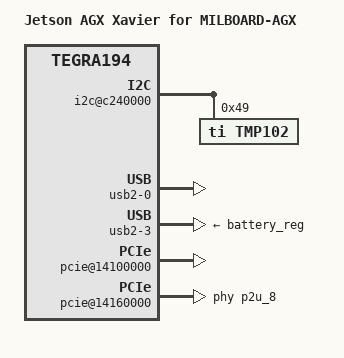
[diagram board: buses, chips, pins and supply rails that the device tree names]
/*
 * Top level DTS file for CVM:P2888-0001 and CVB:MILBOARD-AGX
 *
 * Copyright (c) 2020-2021, Mist Elektronik Biyomedikal Ltd. Şti.  All rights reserved.
 *
 * This program is free software; you can redistribute it and/or modify
 * it under the terms of the GNU General Public License as published by
 * the Free Software Foundation; version 2 of the License.
 *
 * This program is distributed in the hope that it will be useful, but WITHOUT
 * ANY WARRANTY; without even the implied warranty of MERCHANTABILITY or
 * FITNESS FOR A PARTICULAR PURPOSE.  See the GNU General Public License for
 * more details.
 */
#include "common/tegra194-p2888-0001-p2822-0000-common.dtsi"
#include "common/tegra194-p2822-camera-modules.dtsi"
#include "t19x-common-modules/tegra194-camera-plugin-manager.dtsi"

/ {
	nvidia,dtsfilename = __FILE__;
	nvidia,dtbbuildtime = __DATE__, __TIME__;
	model = "Jetson AGX Xavier for MILBOARD-AGX";

	i2c@c240000 {
		ucsi_ccg@8 {
			status = "disabled";
		};
		tmp102: tmp102@49 { // Temperature Sensor
			compatible = "ti,tmp102";
			reg = <0x49>;
			#thermal-sensor-cells = <0>;
		};
	};

	i2c@c250000 {
		rt5659.7-001a@1a {
			status = "disabled";
		};
	};

	sound {
		status = "disabled";
	};

	host1x {

		nvdisplay@15200000 {
			/delete-property/  extcon-cables;
			/delete-property/  extcon-cable-names;
			/delete-property/  #extcon-cells;
		};

		nvdisplay@15210000 {
			/delete-property/  extcon-cables;
			/delete-property/  extcon-cable-names;
			/delete-property/  #extcon-cells;
			status="disabled";
		};

		nvdisplay@15220000 {
			/delete-property/  extcon-cables;
			/delete-property/  extcon-cable-names;
			/delete-property/  #extcon-cells;
			status="disabled";
		};

		sor {
			status = "disabled";
			/delete-property/  nvidia,typec-port;


			dp-display {
				status = "disabled";
			};
		};

		sor1 {
			status = "disabled";
			/delete-property/  nvidia,typec-port;

			dp-display {
				status = "disabled";
			};
		};

	};

	external-connection {
		vbus_id_extcon: extcon@1 {
			compatible = "extcon-gpio-states";
			reg = <0x1>;
			extcon-gpio,name = "VBUS";
			extcon-gpio,cable-states = <
						0x0 0x1
						0x1 0x0>;
			gpios = <&tegra_main_gpio TEGRA194_MAIN_GPIO(T, 7) 0>; // unused GPIO
			extcon-gpio,out-cable-names = <EXTCON_USB EXTCON_USB_HOST EXTCON_NONE>;
			wakeup-source;
			#extcon-cells = <1>;
		};
	};

	xusb_padctl@3520000 {

		ports {
			usb2-0 {
				status = "okay";
				mode = "otg";
			};
			usb2-3 {
				status = "okay";
				vbus-supply = <&battery_reg>;
				mode = "host";
			};
		};
	};

	xudc@3550000 {
		extcon-cables = <&vbus_id_extcon 0>;
		extcon-cable-names = "vbus";
		#extcon-cells = <1>;
	};

	xhci@3610000 {
		extcon-cables = <&vbus_id_extcon 1>;
		extcon-cable-names = "id";
		#extcon-cells = <1>;
	};

	/delete-node/ usb_cd;

	fixed-regulators {
		regulator@114 {
			/delete-property/	gpio;
			/delete-property/	enable-active-high;
		};

		regulator@0 {
			/delete-property/	regulator-always-on;
			gpio = <&tegra_main_gpio TEGRA194_MAIN_GPIO(Z, 1) 0x0>;
			enable-active-high;
		};
	};

	pcie@14180000 { // PCIe x4 (C0)
		nvidia,max-speed = <3>;
	};

	pcie@14100000 { // PCIe x1 (C1)
		status = "okay";
	};

	pcie@14140000 { // PCIe x1 (C3)
		nvidia,max-speed = <3>;
	};

	pcie@14160000 { // PCIe x2 (C4)
		status = "okay";
		nvidia,max-speed = <3>;

		vddio-pex-ctl-supply = <&p2888_spmic_sd3>;
		nvidia,disable-aspm-states = <0xf>;
		nvidia,enable-power-down;
		nvidia,disable-clock-request;

		phys = <&p2u_8>, <&p2u_9>;
		phy-names = "pcie-p2u-0", "pcie-p2u-1";
	};

	pcie@141a0000 { // PCIe x8 (C5)
		nvidia,max-speed = <2>;
	};

	pcie_ep@141a0000 {
		nvidia,max-speed = <2>;
	};

	clocks-init {
		disable {
			/delete-property/ clocks;
		};
	};

};


